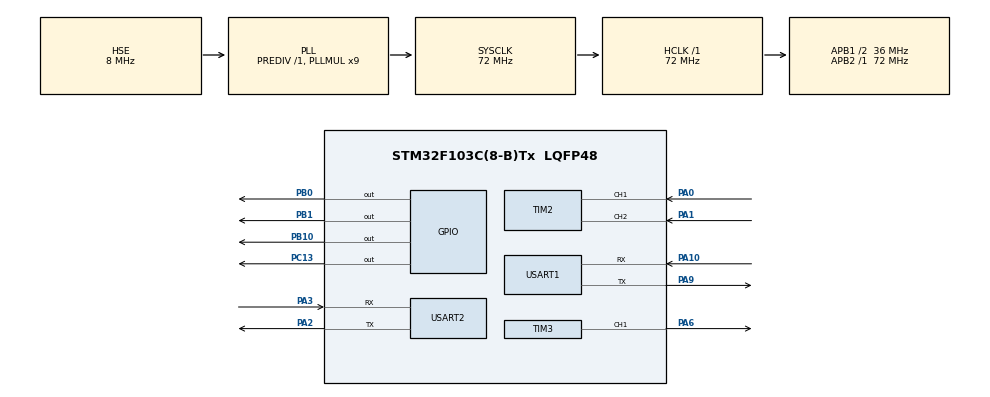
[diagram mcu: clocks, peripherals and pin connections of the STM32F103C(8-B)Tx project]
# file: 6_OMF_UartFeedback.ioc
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Dma.Request0=USART1_TX
Dma.Request1=USART2_TX
Dma.Request2=USART2_RX
Dma.USART1_TX.0.Direction=DMA_MEMORY_TO_PERIPH
Dma.USART1_TX.0.Instance=DMA1_Channel4
Dma.USART1_TX.0.MemDataAlignment=DMA_MDATAALIGN_BYTE
Dma.USART1_TX.0.MemInc=DMA_MINC_ENABLE
Dma.USART1_TX.0.Mode=DMA_NORMAL
Dma.USART1_TX.0.PeriphDataAlignment=DMA_PDATAALIGN_BYTE
Dma.USART1_TX.0.PeriphInc=DMA_PINC_DISABLE
Dma.USART1_TX.0.Priority=DMA_PRIORITY_MEDIUM
Dma.USART2_RX.2.Direction=DMA_PERIPH_TO_MEMORY
Dma.USART2_RX.2.Instance=DMA1_Channel6
Dma.USART2_RX.2.MemDataAlignment=DMA_MDATAALIGN_BYTE
Dma.USART2_RX.2.MemInc=DMA_MINC_ENABLE
Dma.USART2_RX.2.Mode=DMA_NORMAL
Dma.USART2_RX.2.PeriphDataAlignment=DMA_PDATAALIGN_BYTE
Dma.USART2_RX.2.PeriphInc=DMA_PINC_DISABLE
Dma.USART2_RX.2.Priority=DMA_PRIORITY_HIGH
Dma.USART2_TX.1.Direction=DMA_MEMORY_TO_PERIPH
Dma.USART2_TX.1.Instance=DMA1_Channel7
Dma.USART2_TX.1.MemDataAlignment=DMA_MDATAALIGN_BYTE
Dma.USART2_TX.1.MemInc=DMA_MINC_ENABLE
Dma.USART2_TX.1.Mode=DMA_NORMAL
Dma.USART2_TX.1.PeriphDataAlignment=DMA_PDATAALIGN_BYTE
Dma.USART2_TX.1.PeriphInc=DMA_PINC_DISABLE
Dma.USART2_TX.1.Priority=DMA_PRIORITY_HIGH
FREERTOS.Queues01=CommandQueue,32,uint64_t,0,Dynamic,NULL,NULL
FREERTOS.Tasks01=MotorControlTas,24,192,Start_MotorControl,Default,NULL,Static,MotorControlTasBuffer,MotorControlTasControlBlock;HeartbeatTask,8,128,Start_Heartbeat,Default,NULL,Static,HeartbeatTaskBuffer,HeartbeatTaskControlBlock;SpeedMeasureTas,32,128,Start_SpeedMeasure,Default,NULL,Static,SpeedMeasureTasBuffer,SpeedMeasureTasControlBlock;SerialLogTask,16,384,Start_SerialLog,Default,NULL,Static,SerialLogTaskBuffer,SerialLogTaskControlBlock
FREERTOS.configUSE_NEWLIB_REENTRANT=0
Mcu.Family=STM32F1
Mcu.Name=STM32F103C(8-B)Tx
Mcu.Package=LQFP48
NVIC.DMA1_Channel4_IRQn=true\:5\:0\:false\:false\:true\:true\:false\:true\:true
NVIC.DMA1_Channel6_IRQn=true\:5\:0\:false\:false\:true\:true\:false\:true\:true
NVIC.DMA1_Channel7_IRQn=true\:5\:0\:false\:false\:true\:true\:false\:true\:true
NVIC.PriorityGroup=NVIC_PRIORITYGROUP_4
NVIC.TIM4_IRQn=true\:15\:0\:false\:false\:true\:false\:false\:true\:true
NVIC.TimeBase=TIM4_IRQn
NVIC.TimeBaseIP=TIM4
NVIC.USART1_IRQn=true\:5\:0\:false\:false\:true\:true\:true\:true\:true
NVIC.USART2_IRQn=true\:5\:0\:false\:false\:true\:true\:true\:true\:true
PA0-WKUP.Signal=S_TIM2_CH1_ETR
PA1.Signal=S_TIM2_CH2
PA10.Mode=Asynchronous
PA10.Signal=USART1_RX
PA13.Mode=Serial_Wire
PA13.Signal=SYS_JTMS-SWDIO
PA14.Mode=Serial_Wire
PA14.Signal=SYS_JTCK-SWCLK
PA2.Mode=Asynchronous
PA2.Signal=USART2_TX
PA3.Mode=Asynchronous
PA3.Signal=USART2_RX
PA6.Signal=S_TIM3_CH1
PA9.Mode=Asynchronous
PA9.Signal=USART1_TX
PB0.PinState=GPIO_PIN_SET
PB0.Signal=GPIO_Output
PB1.PinState=GPIO_PIN_SET
PB1.Signal=GPIO_Output
PB10.PinState=GPIO_PIN_SET
PB10.Signal=GPIO_Output
PC13-TAMPER-RTC.PinState=GPIO_PIN_SET
PC13-TAMPER-RTC.Signal=GPIO_Output
PD0-OSC_IN.Mode=HSE-External-Oscillator
PD0-OSC_IN.Signal=RCC_OSC_IN
PD1-OSC_OUT.Mode=HSE-External-Oscillator
PD1-OSC_OUT.Signal=RCC_OSC_OUT
ProjectManager.HeapSize=0x200
ProjectManager.StackSize=0x400
ProjectManager.TargetToolchain=MDK-ARM V5.32
RCC.AHBFreq_Value=72000000
RCC.APB1CLKDivider=RCC_HCLK_DIV2
RCC.APB1Freq_Value=36000000
RCC.APB1TimFreq_Value=72000000
RCC.APB2Freq_Value=72000000
RCC.APB2TimFreq_Value=72000000
RCC.HCLKFreq_Value=72000000
RCC.PLLMUL=RCC_PLL_MUL9
RCC.PLLSourceVirtual=RCC_PLLSOURCE_HSE
RCC.SYSCLKFreq_VALUE=72000000
RCC.SYSCLKSource=RCC_SYSCLKSOURCE_PLLCLK
RCC.USBFreq_Value=72000000
SH.S_TIM2_CH1_ETR.0=TIM2_CH1,Encoder_Interface
SH.S_TIM2_CH2.0=TIM2_CH2,Encoder_Interface
SH.S_TIM3_CH1.0=TIM3_CH1,PWM Generation1 CH1
TIM2.EncoderMode=TIM_ENCODERMODE_TI12
TIM2.IC1Filter=7
TIM2.IC2Filter=7
TIM3.Channel-PWM\ Generation1\ CH1=TIM_CHANNEL_1
TIM3.Period=50-1
TIM3.Prescaler=72-1
USART1.VirtualMode=VM_ASYNC
USART2.VirtualMode=VM_ASYNC
VP_FREERTOS_VS_CMSIS_V2.Mode=CMSIS_V2
VP_SYS_VS_tim4.Mode=TIM4
board=custom

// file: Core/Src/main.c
/* USER CODE BEGIN Header */
/**
  ******************************************************************************
  * @file           : main.c
  * @brief          : Main program body
  ******************************************************************************
  * @attention
  *
  * Copyright (c) 2025 STMicroelectronics.
  * All rights reserved.
  *
  * This software is licensed under terms that can be found in the LICENSE file
  * in the root directory of this software component.
  * If no LICENSE file comes with this software, it is provided AS-IS.
  *
  ******************************************************************************
  */
/* USER CODE END Header */
#include "main.h"
#include "cmsis_os.h"
#include "dma.h"
#include "tim.h"
#include "usart.h"
#include "gpio.h"

/* USER CODE BEGIN Includes */

#include "string.h"   // 引入字符串处理库
#include "motor.h"    // 引入电机控制模块
#include "command.h"  // 引入命令解析模块
#include "uart_app.h" // 引入 UART 应用层模块

/* USER CODE END Includes */

/* USER CODE BEGIN PV */

Motor_t motor1; // 声明全局电机实例

/* USER CODE END PV */

void SystemClock_Config(void);
void MX_FREERTOS_Init(void);

int main(void)
{

  /* MCU Configuration--------------------------------------------------------*/

  /* Reset of all peripherals, Initializes the Flash interface and the Systick. */
  HAL_Init();

  /* Configure the system clock */
  SystemClock_Config();

  /* Initialize all configured peripherals */
  MX_GPIO_Init();
  MX_DMA_Init();
  MX_TIM2_Init();
  MX_TIM3_Init();
  MX_USART1_UART_Init();
  MX_USART2_UART_Init();
  /* USER CODE BEGIN 2 */

  UART_App_Init();
  // HAL_UART_Receive_IT(&huart2, &uart2_rx_data, 1);

  // 启动编码器计数
  HAL_TIM_Encoder_Start(&htim2, TIM_CHANNEL_ALL);

  // 死区正常工作；且当前配置下，最大速度/最大pwm最好为1000
  // 实验发现，最大速度在小于1000时，难以与cubemx中的"72-1""1000-1"相对应；
  // 且当cubemx的arr改为600，900等时，超限（超过某一代表数值即满额速度运行）明显呈现跟随

  // EN (如果没有独立的使能引脚，则为 NULL, 0)
    Motor_Init(&motor1, &htim3, TIM_CHANNEL_1,
           GPIOB, GPIO_PIN_0,
           GPIOB, GPIO_PIN_1,
           GPIOB, GPIO_PIN_10,
           1000, 1000, 100,
           0, MOTOR_STOP_BRAKE);

  /* USER CODE END 2 */

  /* Init scheduler */
  osKernelInitialize();  /* Call init function for freertos objects (in cmsis_os2.c) */
  MX_FREERTOS_Init();

  /* Start scheduler */
  osKernelStart();

  /* We should never get here as control is now taken by the scheduler */

  /* Infinite loop */
  while (1)
  {

  }
}

void SystemClock_Config(void)
{
  RCC_OscInitTypeDef RCC_OscInitStruct = {0};
  RCC_ClkInitTypeDef RCC_ClkInitStruct = {0};

  /** Initializes the RCC Oscillators according to the specified parameters
  * in the RCC_OscInitTypeDef structure.
  */
  RCC_OscInitStruct.OscillatorType = RCC_OSCILLATORTYPE_HSE;
  RCC_OscInitStruct.HSEState = RCC_HSE_ON;
  RCC_OscInitStruct.HSEPredivValue = RCC_HSE_PREDIV_DIV1;
  RCC_OscInitStruct.HSIState = RCC_HSI_ON;
  RCC_OscInitStruct.PLL.PLLState = RCC_PLL_ON;
  RCC_OscInitStruct.PLL.PLLSource = RCC_PLLSOURCE_HSE;
  RCC_OscInitStruct.PLL.PLLMUL = RCC_PLL_MUL9;
  if (HAL_RCC_OscConfig(&RCC_OscInitStruct) != HAL_OK)
  {
    Error_Handler();
  }

  /** Initializes the CPU, AHB and APB buses clocks
  */
  RCC_ClkInitStruct.ClockType = RCC_CLOCKTYPE_HCLK|RCC_CLOCKTYPE_SYSCLK
                              |RCC_CLOCKTYPE_PCLK1|RCC_CLOCKTYPE_PCLK2;
  RCC_ClkInitStruct.SYSCLKSource = RCC_SYSCLKSOURCE_PLLCLK;
  RCC_ClkInitStruct.AHBCLKDivider = RCC_SYSCLK_DIV1;
  RCC_ClkInitStruct.APB1CLKDivider = RCC_HCLK_DIV2;
  RCC_ClkInitStruct.APB2CLKDivider = RCC_HCLK_DIV1;

  if (HAL_RCC_ClockConfig(&RCC_ClkInitStruct, FLASH_LATENCY_2) != HAL_OK)
  {
    Error_Handler();
  }
}

void HAL_TIM_PeriodElapsedCallback(TIM_HandleTypeDef *htim)
{
  if (htim->Instance == TIM4)
  {
    HAL_IncTick();
  }
}

void Error_Handler(void)
{
  __disable_irq();
  while (1)
  {
  }
}

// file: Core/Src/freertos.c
/* USER CODE BEGIN Header */
/**
  ******************************************************************************
  * File Name          : freertos.c
  * Description        : Code for freertos applications
  ******************************************************************************
  * @attention
  *
  * Copyright (c) 2025 STMicroelectronics.
  * All rights reserved.
  *
  * This software is licensed under terms that can be found in the LICENSE file
  * in the root directory of this software component.
  * If no LICENSE file comes with this software, it is provided AS-IS.
  *
  ******************************************************************************
  */
/* USER CODE END Header */

#include "FreeRTOS.h"
#include "task.h"
#include "main.h"
#include "cmsis_os.h"

/* USER CODE BEGIN Includes */

#include "stdio.h"
#include "motor.h"
#include "command.h"

  // 项目等待重构与解耦合

/* USER CODE END Includes */

typedef StaticTask_t osStaticThreadDef_t;

/* USER CODE BEGIN Variables */

extern TIM_HandleTypeDef htim2;
extern UART_HandleTypeDef huart1;
extern UART_HandleTypeDef huart2;

extern Motor_t motor1;
// extern volatile int16_t current_speed;

uint8_t tx_buf[50];

/* USER CODE END Variables */
/* Definitions for MotorControlTas */
osThreadId_t MotorControlTasHandle;
uint32_t MotorControlTasBuffer[ 192 ];
osStaticThreadDef_t MotorControlTasControlBlock;
const osThreadAttr_t MotorControlTas_attributes = {
  .name = "MotorControlTas",
  .cb_mem = &MotorControlTasControlBlock,
  .cb_size = sizeof(MotorControlTasControlBlock),
  .stack_mem = &MotorControlTasBuffer[0],
  .stack_size = sizeof(MotorControlTasBuffer),
  .priority = (osPriority_t) osPriorityNormal,
};
/* Definitions for HeartbeatTask */
osThreadId_t HeartbeatTaskHandle;
uint32_t HeartbeatTaskBuffer[ 128 ];
osStaticThreadDef_t HeartbeatTaskControlBlock;
const osThreadAttr_t HeartbeatTask_attributes = {
  .name = "HeartbeatTask",
  .cb_mem = &HeartbeatTaskControlBlock,
  .cb_size = sizeof(HeartbeatTaskControlBlock),
  .stack_mem = &HeartbeatTaskBuffer[0],
  .stack_size = sizeof(HeartbeatTaskBuffer),
  .priority = (osPriority_t) osPriorityLow,
};
/* Definitions for SpeedMeasureTas */
osThreadId_t SpeedMeasureTasHandle;
uint32_t SpeedMeasureTasBuffer[ 128 ];
osStaticThreadDef_t SpeedMeasureTasControlBlock;
const osThreadAttr_t SpeedMeasureTas_attributes = {
  .name = "SpeedMeasureTas",
  .cb_mem = &SpeedMeasureTasControlBlock,
  .cb_size = sizeof(SpeedMeasureTasControlBlock),
  .stack_mem = &SpeedMeasureTasBuffer[0],
  .stack_size = sizeof(SpeedMeasureTasBuffer),
  .priority = (osPriority_t) osPriorityAboveNormal,
};
/* Definitions for SerialLogTask */
osThreadId_t SerialLogTaskHandle;
uint32_t SerialLogTaskBuffer[ 384 ];
osStaticThreadDef_t SerialLogTaskControlBlock;
const osThreadAttr_t SerialLogTask_attributes = {
  .name = "SerialLogTask",
  .cb_mem = &SerialLogTaskControlBlock,
  .cb_size = sizeof(SerialLogTaskControlBlock),
  .stack_mem = &SerialLogTaskBuffer[0],
  .stack_size = sizeof(SerialLogTaskBuffer),
  .priority = (osPriority_t) osPriorityBelowNormal,
};
/* Definitions for CommandQueue */
osMessageQueueId_t CommandQueueHandle;
const osMessageQueueAttr_t CommandQueue_attributes = {
  .name = "CommandQueue"
};

void Start_MotorControl(void *argument);
void Start_Heartbeat(void *argument);
void Start_SpeedMeasure(void *argument);
void Start_SerialLog(void *argument);

void MX_FREERTOS_Init(void); /* (MISRA C 2004 rule 8.1) */

void MX_FREERTOS_Init(void) {

  /* Create the queue(s) */
  /* creation of CommandQueue */
  CommandQueueHandle = osMessageQueueNew (32, sizeof(uint64_t), &CommandQueue_attributes);

  /* Create the thread(s) */
  /* creation of MotorControlTas */
  MotorControlTasHandle = osThreadNew(Start_MotorControl, NULL, &MotorControlTas_attributes);

  /* creation of HeartbeatTask */
  HeartbeatTaskHandle = osThreadNew(Start_Heartbeat, NULL, &HeartbeatTask_attributes);

  /* creation of SpeedMeasureTas */
  SpeedMeasureTasHandle = osThreadNew(Start_SpeedMeasure, NULL, &SpeedMeasureTas_attributes);

  /* creation of SerialLogTask */
  SerialLogTaskHandle = osThreadNew(Start_SerialLog, NULL, &SerialLogTask_attributes);

}

void Start_MotorControl(void *argument)
{
  /* USER CODE BEGIN Start_MotorControl */

  // uint8_t cmd;
  CommandMsg_t cmdMsg;

  /* Infinite loop */
  for(;;)
  {
    if (osMessageQueueGet(CommandQueueHandle, &cmdMsg, NULL, osWaitForever) == osOK)
    {
      switch (cmdMsg.type)
      {
        case CMD_FORWARD:
            Motor_SetSpeed(&motor1, 800);
            // UART2_Print("CMD: Forward\r\n");
            break;
        case CMD_REVERSE:
            Motor_SetSpeed(&motor1, -800);
            // UART2_Print("CMD: Reverse\r\n");
            break;
        case CMD_STOP:
            Motor_Stop(&motor1);
            // UART2_Print("CMD: Stop\r\n");
            break;
        case CMD_SET_SPEED:
            // 用的最多
            Motor_SetSpeed(&motor1, cmdMsg.value);
            break;

        default:
            // Motor_Stop(&motor1);
            break;
      }
    }
    osDelay(10);
  }
  /* USER CODE END Start_MotorControl */
}

void Start_Heartbeat(void *argument)
{
  /* USER CODE BEGIN Start_Heartbeat */
  /* Infinite loop */
  for(;;)
  {
    HAL_GPIO_TogglePin(GPIOC, GPIO_PIN_13);
    osDelay(200);
  }
  /* USER CODE END Start_Heartbeat */
}

void Start_SpeedMeasure(void *argument)
{
  /* USER CODE BEGIN Start_SpeedMeasure */
  /* Infinite loop */
  for(;;)
  {
    static int16_t last_cnt = 0;
    int16_t now = (int16_t)__HAL_TIM_GET_COUNTER(&htim2);

    int32_t diff = (int16_t)(now - last_cnt);
    if (diff > 32768)
    {
      diff -= 65536;
    }
    else if (diff < -32768)
    {
      diff += 65536;
    }
    last_cnt = now;
    motor1.current_speed = diff;

    // // 2025.10.27 改进速度计算，解决计数器溢出问题
    // int16_t diff = (int16_t)(now - last_cnt);
    // last_cnt = now;
    // current_speed = diff;  // 保留符号方向

    // 1. 速度计算 (快速操作)
    // current_speed =  (now - last_cnt);
    // current_speed = - (now - last_cnt);
    // last_cnt = now;

    // 2. 唤醒 LogTask (使用 CMSIS V2 任务通知)
    if (SerialLogTaskHandle != NULL)
    {
      osThreadFlagsSet(SerialLogTaskHandle, 0x01); // 设置标志位 0x01 唤醒 LogTask
    }
    osDelay(10); // 10ms 测速周期可行；1ms不行，完不成就过掉了
  }
  /* USER CODE END Start_SpeedMeasure */
}

void Start_SerialLog(void *argument)
{
  /* USER CODE BEGIN Start_SerialLog */
  /* Infinite loop */
  for(;;)
  {
    // 阻塞等待来自 TIM3 中断的标志位 (0x01)
    // osThreadFlagsWait(flags, options, timeout)
    osThreadFlagsWait(0x01, osFlagsWaitAny, osWaitForever);

    // 收到标志位 (每 10ms 唤醒一次) 后执行耗时 I/O：

    // 1. 安全地读取速度
    int16_t speed_val = motor1.current_speed;
    uint32_t cnt_val = __HAL_TIM_GET_COUNTER(&htim2);

    // 2. 格式化数据
    int len = sprintf((char *)tx_buf, "%ld,%ld,%ld,%ld,%ld\r\n",HAL_GetTick(), cnt_val, speed_val,
                     - motor1.target_speed, motor1.pwm_output);

    // 3. 串口发送，DMA 方式
    // HAL_UART_Transmit(&huart1, tx_buf, len, HAL_MAX_DELAY);
    if (HAL_UART_GetState(&huart1) == HAL_UART_STATE_READY)
    {
      HAL_UART_Transmit_DMA(&huart1, tx_buf, len);
    }
    else
    {
      osDelay(5); // 如果 UART 忙，稍等一下再发
    }
    // HAL_UART_Transmit_DMA(&huart1, tx_buf, len);

    osDelay(10);
  }
  /* USER CODE END Start_SerialLog */
}
